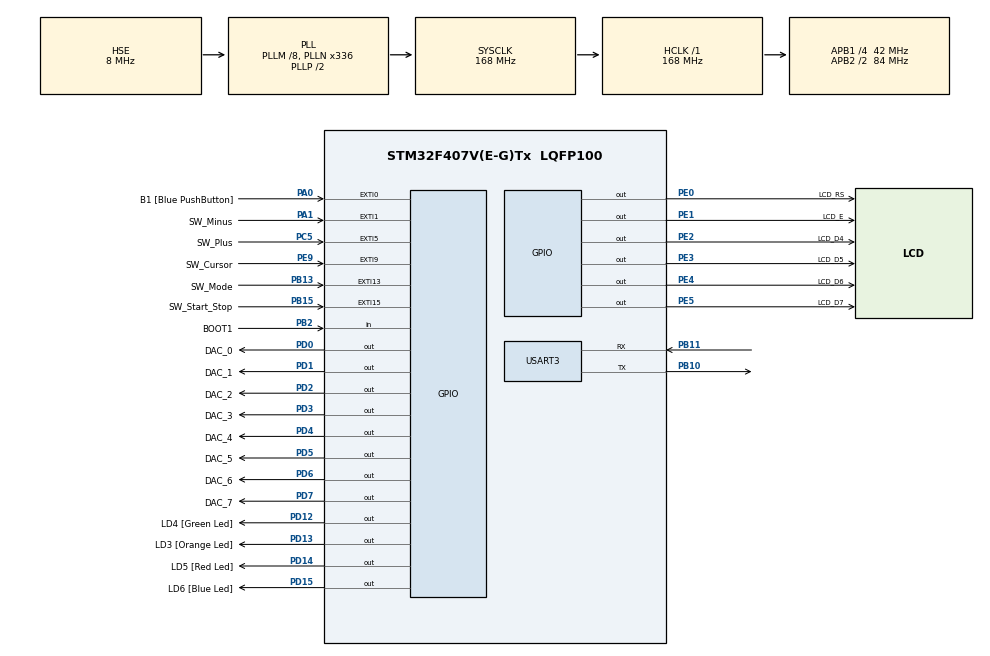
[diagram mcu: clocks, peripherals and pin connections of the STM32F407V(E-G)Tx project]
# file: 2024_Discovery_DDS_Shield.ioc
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Dma.Request0=USART3_RX
Dma.USART3_RX.0.Direction=DMA_PERIPH_TO_MEMORY
Dma.USART3_RX.0.FIFOMode=DMA_FIFOMODE_DISABLE
Dma.USART3_RX.0.Instance=DMA1_Stream1
Dma.USART3_RX.0.MemDataAlignment=DMA_MDATAALIGN_BYTE
Dma.USART3_RX.0.MemInc=DMA_MINC_ENABLE
Dma.USART3_RX.0.Mode=DMA_CIRCULAR
Dma.USART3_RX.0.PeriphDataAlignment=DMA_PDATAALIGN_BYTE
Dma.USART3_RX.0.PeriphInc=DMA_PINC_DISABLE
Dma.USART3_RX.0.Priority=DMA_PRIORITY_LOW
Mcu.Family=STM32F4
Mcu.Name=STM32F407V(E-G)Tx
Mcu.Package=LQFP100
NVIC.DMA1_Stream1_IRQn=true\:0\:0\:false\:false\:true\:false\:true\:true
NVIC.EXTI15_10_IRQn=true\:0\:0\:false\:false\:true\:true\:true\:true
NVIC.EXTI1_IRQn=true\:0\:0\:false\:false\:true\:true\:true\:true
NVIC.EXTI9_5_IRQn=true\:0\:0\:true\:false\:true\:true\:true\:true
NVIC.PriorityGroup=NVIC_PRIORITYGROUP_0
NVIC.TIM7_IRQn=true\:0\:0\:true\:false\:true\:true\:true\:true
PA0-WKUP.GPIO_Label=B1 [Blue PushButton]
PA0-WKUP.GPIO_ModeDefaultEXTI=GPIO_MODE_EVT_RISING
PA0-WKUP.GPIO_PuPd=GPIO_NOPULL
PA0-WKUP.Signal=GPXTI0
PA1.GPIO_Label=SW_Minus
PA1.GPIO_ModeDefaultEXTI=GPIO_MODE_IT_FALLING
PA1.GPIO_PuPd=GPIO_PULLUP
PA1.Signal=GPXTI1
PA13.GPIO_Label=SWDIO
PA13.Mode=Serial_Wire
PA13.Signal=SYS_JTMS-SWDIO
PA14.GPIO_Label=SWCLK
PA14.Mode=Serial_Wire
PA14.Signal=SYS_JTCK-SWCLK
PB10.Mode=Asynchronous
PB10.Signal=USART3_TX
PB11.Mode=Asynchronous
PB11.Signal=USART3_RX
PB13.GPIO_Label=SW_Mode
PB13.GPIO_ModeDefaultEXTI=GPIO_MODE_IT_FALLING
PB13.GPIO_PuPd=GPIO_PULLUP
PB13.Signal=GPXTI13
PB15.GPIO_Label=SW_Start_Stop
PB15.GPIO_ModeDefaultEXTI=GPIO_MODE_IT_FALLING
PB15.GPIO_PuPd=GPIO_PULLUP
PB15.Signal=GPXTI15
PB2.GPIO_Label=BOOT1
PB2.GPIO_Mode=GPIO_MODE_INPUT
PB2.GPIO_PuPd=GPIO_NOPULL
PB2.Signal=GPIO_Input
PB3.GPIO_Label=SWO
PB3.Signal=SYS_JTDO-SWO
PC14-OSC32_IN.GPIO_Label=PC14-OSC32_IN
PC14-OSC32_IN.Mode=LSE-External-Oscillator
PC14-OSC32_IN.Signal=RCC_OSC32_IN
PC15-OSC32_OUT.GPIO_Label=PC15-OSC32_OUT
PC15-OSC32_OUT.Mode=LSE-External-Oscillator
PC15-OSC32_OUT.Signal=RCC_OSC32_OUT
PC5.GPIO_Label=SW_Plus
PC5.GPIO_ModeDefaultEXTI=GPIO_MODE_IT_FALLING
PC5.GPIO_PuPd=GPIO_PULLUP
PC5.Signal=GPXTI5
PD0.GPIO_Label=DAC_0
PD0.Signal=GPIO_Output
PD1.GPIO_Label=DAC_1
PD1.Signal=GPIO_Output
PD12.GPIO_Label=LD4 [Green Led]
PD12.GPIO_PuPd=GPIO_NOPULL
PD12.GPIO_Speed=GPIO_SPEED_FREQ_LOW
PD12.Signal=GPIO_Output
PD13.GPIO_Label=LD3 [Orange Led]
PD13.GPIO_PuPd=GPIO_NOPULL
PD13.GPIO_Speed=GPIO_SPEED_FREQ_LOW
PD13.Signal=GPIO_Output
PD14.GPIO_Label=LD5 [Red Led]
PD14.GPIO_PuPd=GPIO_NOPULL
PD14.GPIO_Speed=GPIO_SPEED_FREQ_LOW
PD14.Signal=GPIO_Output
PD15.GPIO_Label=LD6 [Blue Led]
PD15.GPIO_PuPd=GPIO_NOPULL
PD15.GPIO_Speed=GPIO_SPEED_FREQ_LOW
PD15.Signal=GPIO_Output
PD2.GPIO_Label=DAC_2
PD2.Signal=GPIO_Output
PD3.GPIO_Label=DAC_3
PD3.Signal=GPIO_Output
PD4.GPIO_Label=DAC_4
PD4.Signal=GPIO_Output
PD5.GPIO_Label=DAC_5
PD5.Signal=GPIO_Output
PD6.GPIO_Label=DAC_6
PD6.Signal=GPIO_Output
PD7.GPIO_Label=DAC_7
PD7.Signal=GPIO_Output
PE0.GPIO_Label=LCD_RS
PE0.Signal=GPIO_Output
PE1.GPIO_Label=LCD_E
PE1.Signal=GPIO_Output
PE2.GPIO_Label=LCD_D4
PE2.Signal=GPIO_Output
PE3.GPIO_Label=LCD_D5
PE3.Signal=GPIO_Output
PE4.GPIO_Label=LCD_D6
PE4.Signal=GPIO_Output
PE5.GPIO_Label=LCD_D7
PE5.Signal=GPIO_Output
PE9.GPIO_Label=SW_Cursor
PE9.GPIO_ModeDefaultEXTI=GPIO_MODE_IT_FALLING
PE9.GPIO_PuPd=GPIO_PULLUP
PE9.Signal=GPXTI9
PH0-OSC_IN.GPIO_Label=PH0-OSC_IN
PH0-OSC_IN.Mode=HSE-External-Oscillator
PH0-OSC_IN.Signal=RCC_OSC_IN
PH1-OSC_OUT.GPIO_Label=PH1-OSC_OUT
PH1-OSC_OUT.Mode=HSE-External-Oscillator
PH1-OSC_OUT.Signal=RCC_OSC_OUT
ProjectManager.HeapSize=0x200
ProjectManager.StackSize=0x400
ProjectManager.TargetToolchain=STM32CubeIDE
RCC.48MHZClocksFreq_Value=48000000
RCC.AHBFreq_Value=168000000
RCC.APB1CLKDivider=RCC_HCLK_DIV4
RCC.APB1Freq_Value=42000000
RCC.APB1TimFreq_Value=84000000
RCC.APB2CLKDivider=RCC_HCLK_DIV2
RCC.APB2Freq_Value=84000000
RCC.APB2TimFreq_Value=168000000
RCC.CortexFreq_Value=168000000
RCC.HCLKFreq_Value=168000000
RCC.HSE_VALUE=8000000
RCC.HSI_VALUE=16000000
RCC.PLLM=8
RCC.PLLN=336
RCC.PLLQ=7
RCC.PLLSourceVirtual=RCC_PLLSOURCE_HSE
RCC.SYSCLKFreq_VALUE=168000000
RCC.SYSCLKSource=RCC_SYSCLKSOURCE_PLLCLK
RCC.VCOOutputFreq_Value=336000000
TIM7.Period=2 - 1
TIM7.Prescaler=42 - 1
TIM7.TIM_MasterOutputTrigger=TIM_TRGO_UPDATE
USART3.VirtualMode=VM_ASYNC
VP_TIM7_VS_ClockSourceINT.Mode=Enable_Timer
board=STM32F407G-DISC1

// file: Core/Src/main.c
/* USER CODE BEGIN Header */
/**
  ******************************************************************************
  * @file           : main.c
  * @brief          : Main program body
  ******************************************************************************
  * @attention
  *
  * Copyright (c) 2024 STMicroelectronics.
  * All rights reserved.
  *
  * This software is licensed under terms that can be found in the LICENSE file
  * in the root directory of this software component.
  * If no LICENSE file comes with this software, it is provided AS-IS.
  *
  ******************************************************************************
  */
/* USER CODE END Header */
#include "main.h"

/* USER CODE BEGIN Includes */

#include <math.h>
#include <stdlib.h>  // for atoi
#include "myFunctions.h"

#include "stdio.h"
#include "string.h"  // for strstr

#include "lcd16x2.h"

/* USER CODE END Includes */

/* USER CODE BEGIN PM */

// DDS MACROS
#define SAMPLING_FREQ 			1000000
#define DDS_FREQ				42400 // Default: 20kHz
#define MAX_SAMPLES 			256

// UART MACROS
#define UART_MSG_BUFFER_SIZE 	50
#define AUX_MSG_BUFFER 			50

#define CMD_DDS_ON				"DDS:ON"
#define CMD_DDS_OFF				"DDS:OFF"
#define CMD_MODE_SINE			"MODE:SINE"
#define CMD_MODE_COSINE			"MODE:COSINE"
#define CMD_MODE_SQUARE			"MODE:SQUARE"
#define CMD_MODE_TRIANGLE		"MODE:TRIANGLE"
#define CMD_MODE_SAWTOOTH		"MODE:SAWTOOTH"
#define CMD_MODE_SAWTOOTH_REV	"MODE:SAWTOOTH_REV"
#define CMD_FREQ				"FREQ:"

// WAVEFORM MACROS
#define N_WAVEFORMS 			6

// DeBounce MACROS
#define BUTTON_DEBOUNCE_TIME 	300 //ms

/* USER CODE END PM */

TIM_HandleTypeDef htim7;

UART_HandleTypeDef huart3;
DMA_HandleTypeDef hdma_usart3_rx;

/* USER CODE BEGIN PV */

// DDS Variables
volatile uint32_t gDDS_Freq = 2000; // 1kHz
uint16_t gSample;
uint16_t gCounter;
uint32_t gPhaseAccumulator = 0;
uint32_t gTuningWord = (pow(2, 32) * DDS_FREQ) / SAMPLING_FREQ;

// Waveform Variables
typedef enum
{
	DDS_Sine_Wave = 0,
	DDS_Cosine_Wave,
	DDS_Triangle_Wave,
	DDS_Sawtooth_Wave,
	DDS_Sawtooth_Rev_Wave,
	DDS_Square_Wave,
}WaveformType_e;

volatile WaveformType_e gWaveformType = DDS_Sine_Wave;

// UART Variables
uint8_t gTXData[UART_MSG_BUFFER_SIZE];
uint8_t gRXData[UART_MSG_BUFFER_SIZE];

char gAUX_msgBuffer[AUX_MSG_BUFFER];
uint8_t gAUX_Counter = 0;

//UART state machine
typedef enum
{
	SM_START = 0,
	SM_APP,
}Uart_StateMachine;

Uart_StateMachine myUART_State = SM_START;

// State Machine Variables
typedef enum
{
	SM_Idle = 0,
	SM_Mode,
	SM_Start_Stop,
	SM_Cursor,
	SM_Plus,
	SM_Minus,
}StateMachine_e;

volatile StateMachine_e gSM = SM_Idle;

volatile uint8_t gStart_Stop = 0;
uint8_t gCursor = 0;

uint32_t gPreviousMillis = 0;
uint32_t gCurrentMillis = 0;

/* USER CODE END PV */

void SystemClock_Config(void);
static void MX_GPIO_Init(void);
static void MX_DMA_Init(void);
static void MX_TIM7_Init(void);
static void MX_USART3_UART_Init(void);

/* USER CODE BEGIN 0 */

void my_printf(char *msg);

void ApplicationCallback(char *cmd);

/* USER CODE END 0 */

int main(void)
{

  /* MCU Configuration--------------------------------------------------------*/

  /* Reset of all peripherals, Initializes the Flash interface and the Systick. */
  HAL_Init();

  /* Configure the system clock */
  SystemClock_Config();

  /* Initialize all configured peripherals */
  MX_GPIO_Init();
  MX_DMA_Init();
  MX_TIM7_Init();
  MX_USART3_UART_Init();
  /* USER CODE BEGIN 2 */

  // LCD
  // **********************
  // Initialize LCD pins
  lcd16x2_init_4bits(GPIOE, LCD_RS_Pin, LCD_E_Pin,
  		  	  	  	 GPIOE, LCD_D4_Pin, LCD_D5_Pin, LCD_D6_Pin, LCD_D7_Pin );

  // Welcome LCD Screen
  lcd16x2_printf("DDS Generator");
  // Turn Off Cursor
  lcd16x2_cursorShow(false);

  // **********************

  // UART
  // **********************
  // Welcome UART
  my_printf("DDS Generator\r\n");

  // Start UART -> DMA and receive one character at the time
  HAL_UART_Receive_DMA(&huart3, (uint8_t *)gRXData, 1);

  // **********************

  //HAL_Delay(500);  // Wait 0.5 second

  // DAC and DDS
  // **********************
  // Set default DDS Tuning Word Frequency - 1kHz
  gTuningWord = (pow(2, 32) * gDDS_Freq) / SAMPLING_FREQ;

  // Start Timer 7 that interacts with External DAC
  // This is now done by using Start Stop button
  //HAL_TIM_Base_Start_IT(&htim7);

  // **********************

  /* USER CODE END 2 */

  /* Infinite loop */
  /* USER CODE BEGIN WHILE */
  while (1)
  {

	  switch(gSM)
	  {
	  case SM_Idle:
		  break;

	  case SM_Mode:

		  lcd16x2_clear();
		  lcd16x2_1stLine();

		  switch(gWaveformType)
		  {
		  case DDS_Sine_Wave:
			  // Update LCD
			  lcd16x2_printf("Mode: Sine");
			  // Update UART
			  my_printf("Mode: Sine\r\n");
			  break;

		  case DDS_Cosine_Wave:
			  // Update LCD
			  lcd16x2_printf("Mode: Cosine");
			  // Update UART
			  my_printf("Mode: Cosine\r\n");
			  break;

		  case DDS_Sawtooth_Wave:
			  // Update LCD
			  lcd16x2_printf("Mode: Sawtooth");
			  // Update UART
			  my_printf("Mode: Sawtooth\r\n");
			  break;

		  case DDS_Sawtooth_Rev_Wave:
			  // Update LCD
			  lcd16x2_printf("Mode: Sawtooth");
			  lcd16x2_2ndLine();
			  lcd16x2_printf("      Reverse");
			  // Update UART
			  my_printf("Mode: Sawtooth Reverse\r\n");
			  break;

		  case DDS_Square_Wave:
			  // Update LCD
			  lcd16x2_printf("Mode: Square");
			  // Update UART
			  my_printf("Mode: Square\r\n");
			  break;

		  case DDS_Triangle_Wave:
			  // Update LCD
			  lcd16x2_printf("Mode: Triangle");
			  // Update UART
			  my_printf("Mode: Triangle\r\n");
			  break;
		  }

		  // Update State Machine
		  gSM = SM_Idle;
		  break;

	  case SM_Cursor:
		  gCursor = !gCursor;

		  if(gCursor == 1)
			  lcd16x2_cursorShow(true);
		  else
			  lcd16x2_cursorShow(false);

		  // Update State Machine
		  gSM = SM_Idle;
		  break;

	  case SM_Start_Stop:

		  lcd16x2_clear();
		  lcd16x2_1stLine();

		  if(gStart_Stop == 1)
		  {
			  // Update LCD
			  lcd16x2_printf("DDS Running...");
			  // Update UART
			  my_printf("DDS Running...\r\n");

			  // Start DAC Timer
			  HAL_TIM_Base_Start_IT(&htim7);
		  }
		  else
		  {
			  // Update LCD
			  lcd16x2_printf("DDS Stopped.");
			  // Update UART
			  my_printf("DDS Stopped.\r\n");
		  }

		  // Update State Machine
		  gSM = SM_Idle;
		  break;

	  case SM_Plus:
		  // Increment Frequency
		  gDDS_Freq++;

		  // Update DDS Tuning Word Frequency
		  gTuningWord = (pow(2, 32) * gDDS_Freq) / SAMPLING_FREQ;

		  // Update LCD
		  lcd16x2_clear();
		  lcd16x2_1stLine();
		  lcd16x2_printf("Frequency:");

		  lcd16x2_2ndLine();
		  lcd16x2_printf("%d", gDDS_Freq);

		  // Update State Machine
		  gSM = SM_Idle;
		  break;

	  case SM_Minus:
		  // Decrement Frequency
		  gDDS_Freq--;

		  // Update DDS Tuning Word Frequency
		  gTuningWord = (pow(2, 32) * gDDS_Freq) / SAMPLING_FREQ;

		  // Update LCD
		  lcd16x2_clear();
		  lcd16x2_1stLine();
		  lcd16x2_printf("Frequency:");

		  lcd16x2_2ndLine();
		  lcd16x2_printf("%d", gDDS_Freq);

		  // Update State Machine
		  gSM = SM_Idle;
		  break;
	  }

	  // Main Loop timing
	  HAL_Delay(200);

    /* USER CODE END WHILE */

  }
}

void SystemClock_Config(void)
{
  RCC_OscInitTypeDef RCC_OscInitStruct = {0};
  RCC_ClkInitTypeDef RCC_ClkInitStruct = {0};

  /** Configure the main internal regulator output voltage
  */
  __HAL_RCC_PWR_CLK_ENABLE();
  __HAL_PWR_VOLTAGESCALING_CONFIG(PWR_REGULATOR_VOLTAGE_SCALE1);

  /** Initializes the RCC Oscillators according to the specified parameters
  * in the RCC_OscInitTypeDef structure.
  */
  RCC_OscInitStruct.OscillatorType = RCC_OSCILLATORTYPE_HSE;
  RCC_OscInitStruct.HSEState = RCC_HSE_ON;
  RCC_OscInitStruct.PLL.PLLState = RCC_PLL_ON;
  RCC_OscInitStruct.PLL.PLLSource = RCC_PLLSOURCE_HSE;
  RCC_OscInitStruct.PLL.PLLM = 8;
  RCC_OscInitStruct.PLL.PLLN = 336;
  RCC_OscInitStruct.PLL.PLLP = RCC_PLLP_DIV2;
  RCC_OscInitStruct.PLL.PLLQ = 7;
  if (HAL_RCC_OscConfig(&RCC_OscInitStruct) != HAL_OK)
  {
    Error_Handler();
  }

  /** Initializes the CPU, AHB and APB buses clocks
  */
  RCC_ClkInitStruct.ClockType = RCC_CLOCKTYPE_HCLK|RCC_CLOCKTYPE_SYSCLK
                              |RCC_CLOCKTYPE_PCLK1|RCC_CLOCKTYPE_PCLK2;
  RCC_ClkInitStruct.SYSCLKSource = RCC_SYSCLKSOURCE_PLLCLK;
  RCC_ClkInitStruct.AHBCLKDivider = RCC_SYSCLK_DIV1;
  RCC_ClkInitStruct.APB1CLKDivider = RCC_HCLK_DIV4;
  RCC_ClkInitStruct.APB2CLKDivider = RCC_HCLK_DIV2;

  if (HAL_RCC_ClockConfig(&RCC_ClkInitStruct, FLASH_LATENCY_5) != HAL_OK)
  {
    Error_Handler();
  }
}

static void MX_TIM7_Init(void)
{

  TIM_MasterConfigTypeDef sMasterConfig = {0};

  htim7.Instance = TIM7;
  htim7.Init.Prescaler = 42 - 1;
  htim7.Init.CounterMode = TIM_COUNTERMODE_UP;
  htim7.Init.Period = 2 - 1;
  htim7.Init.AutoReloadPreload = TIM_AUTORELOAD_PRELOAD_DISABLE;
  if (HAL_TIM_Base_Init(&htim7) != HAL_OK)
  {
    Error_Handler();
  }
  sMasterConfig.MasterOutputTrigger = TIM_TRGO_UPDATE;
  sMasterConfig.MasterSlaveMode = TIM_MASTERSLAVEMODE_DISABLE;
  if (HAL_TIMEx_MasterConfigSynchronization(&htim7, &sMasterConfig) != HAL_OK)
  {
    Error_Handler();
  }

}

static void MX_USART3_UART_Init(void)
{

  huart3.Instance = USART3;
  huart3.Init.BaudRate = 115200;
  huart3.Init.WordLength = UART_WORDLENGTH_8B;
  huart3.Init.StopBits = UART_STOPBITS_1;
  huart3.Init.Parity = UART_PARITY_NONE;
  huart3.Init.Mode = UART_MODE_TX_RX;
  huart3.Init.HwFlowCtl = UART_HWCONTROL_NONE;
  huart3.Init.OverSampling = UART_OVERSAMPLING_16;
  if (HAL_UART_Init(&huart3) != HAL_OK)
  {
    Error_Handler();
  }

}

static void MX_DMA_Init(void)
{

  /* DMA controller clock enable */
  __HAL_RCC_DMA1_CLK_ENABLE();

  /* DMA interrupt init */
  /* DMA1_Stream1_IRQn interrupt configuration */
  HAL_NVIC_SetPriority(DMA1_Stream1_IRQn, 0, 0);
  HAL_NVIC_EnableIRQ(DMA1_Stream1_IRQn);

}

static void MX_GPIO_Init(void)
{
  GPIO_InitTypeDef GPIO_InitStruct = {0};

  /* GPIO Ports Clock Enable */
  __HAL_RCC_GPIOE_CLK_ENABLE();
  __HAL_RCC_GPIOC_CLK_ENABLE();
  __HAL_RCC_GPIOH_CLK_ENABLE();
  __HAL_RCC_GPIOA_CLK_ENABLE();
  __HAL_RCC_GPIOB_CLK_ENABLE();
  __HAL_RCC_GPIOD_CLK_ENABLE();

  /*Configure GPIO pin Output Level */
  HAL_GPIO_WritePin(GPIOE, LCD_D4_Pin|LCD_D5_Pin|LCD_D6_Pin|LCD_D7_Pin
                          |LCD_RS_Pin|LCD_E_Pin, GPIO_PIN_RESET);

  /*Configure GPIO pin Output Level */
  HAL_GPIO_WritePin(GPIOD, LD4_Pin|LD3_Pin|LD5_Pin|LD6_Pin
                          |DAC_0_Pin|DAC_1_Pin|DAC_2_Pin|DAC_3_Pin
                          |DAC_4_Pin|DAC_5_Pin|DAC_6_Pin|DAC_7_Pin, GPIO_PIN_RESET);

  /*Configure GPIO pins : LCD_D4_Pin LCD_D5_Pin LCD_D6_Pin LCD_D7_Pin
                           LCD_RS_Pin LCD_E_Pin */
  GPIO_InitStruct.Pin = LCD_D4_Pin|LCD_D5_Pin|LCD_D6_Pin|LCD_D7_Pin
                          |LCD_RS_Pin|LCD_E_Pin;
  GPIO_InitStruct.Mode = GPIO_MODE_OUTPUT_PP;
  GPIO_InitStruct.Pull = GPIO_NOPULL;
  GPIO_InitStruct.Speed = GPIO_SPEED_FREQ_LOW;
  HAL_GPIO_Init(GPIOE, &GPIO_InitStruct);

  /*Configure GPIO pin : B1_Pin */
  GPIO_InitStruct.Pin = B1_Pin;
  GPIO_InitStruct.Mode = GPIO_MODE_EVT_RISING;
  GPIO_InitStruct.Pull = GPIO_NOPULL;
  HAL_GPIO_Init(B1_GPIO_Port, &GPIO_InitStruct);

  /*Configure GPIO pin : SW_Minus_Pin */
  GPIO_InitStruct.Pin = SW_Minus_Pin;
  GPIO_InitStruct.Mode = GPIO_MODE_IT_FALLING;
  GPIO_InitStruct.Pull = GPIO_PULLUP;
  HAL_GPIO_Init(SW_Minus_GPIO_Port, &GPIO_InitStruct);

  /*Configure GPIO pin : SW_Plus_Pin */
  GPIO_InitStruct.Pin = SW_Plus_Pin;
  GPIO_InitStruct.Mode = GPIO_MODE_IT_FALLING;
  GPIO_InitStruct.Pull = GPIO_PULLUP;
  HAL_GPIO_Init(SW_Plus_GPIO_Port, &GPIO_InitStruct);

  /*Configure GPIO pin : BOOT1_Pin */
  GPIO_InitStruct.Pin = BOOT1_Pin;
  GPIO_InitStruct.Mode = GPIO_MODE_INPUT;
  GPIO_InitStruct.Pull = GPIO_NOPULL;
  HAL_GPIO_Init(BOOT1_GPIO_Port, &GPIO_InitStruct);

  /*Configure GPIO pin : SW_Cursor_Pin */
  GPIO_InitStruct.Pin = SW_Cursor_Pin;
  GPIO_InitStruct.Mode = GPIO_MODE_IT_FALLING;
  GPIO_InitStruct.Pull = GPIO_PULLUP;
  HAL_GPIO_Init(SW_Cursor_GPIO_Port, &GPIO_InitStruct);

  /*Configure GPIO pins : SW_Mode_Pin SW_Start_Stop_Pin */
  GPIO_InitStruct.Pin = SW_Mode_Pin|SW_Start_Stop_Pin;
  GPIO_InitStruct.Mode = GPIO_MODE_IT_FALLING;
  GPIO_InitStruct.Pull = GPIO_PULLUP;
  HAL_GPIO_Init(GPIOB, &GPIO_InitStruct);

  /*Configure GPIO pins : LD4_Pin LD3_Pin LD5_Pin LD6_Pin
                           DAC_0_Pin DAC_1_Pin DAC_2_Pin DAC_3_Pin
                           DAC_4_Pin DAC_5_Pin DAC_6_Pin DAC_7_Pin */
  GPIO_InitStruct.Pin = LD4_Pin|LD3_Pin|LD5_Pin|LD6_Pin
                          |DAC_0_Pin|DAC_1_Pin|DAC_2_Pin|DAC_3_Pin
                          |DAC_4_Pin|DAC_5_Pin|DAC_6_Pin|DAC_7_Pin;
  GPIO_InitStruct.Mode = GPIO_MODE_OUTPUT_PP;
  GPIO_InitStruct.Pull = GPIO_NOPULL;
  GPIO_InitStruct.Speed = GPIO_SPEED_FREQ_LOW;
  HAL_GPIO_Init(GPIOD, &GPIO_InitStruct);

  /* EXTI interrupt init*/
  HAL_NVIC_SetPriority(EXTI1_IRQn, 0, 0);
  HAL_NVIC_EnableIRQ(EXTI1_IRQn);

  HAL_NVIC_SetPriority(EXTI9_5_IRQn, 0, 0);
  HAL_NVIC_EnableIRQ(EXTI9_5_IRQn);

  HAL_NVIC_SetPriority(EXTI15_10_IRQn, 0, 0);
  HAL_NVIC_EnableIRQ(EXTI15_10_IRQn);

}

/* USER CODE BEGIN 4 */

void my_printf(char *msg)
{
	sprintf((char *)gTXData, msg);
	HAL_UART_Transmit(&huart3, gTXData, strlen(gTXData), HAL_MAX_DELAY);
}

void HAL_TIM_PeriodElapsedCallback(TIM_HandleTypeDef *htim)
{
	if(htim == &htim7)
	{
		// Take the 8 upper bits of the 32 bit phase accumulator as a LUT sample pointer
		gCounter = (gPhaseAccumulator >> 24) % MAX_SAMPLES;

		// Get sample from LUT
		switch(gWaveformType)
		{
		case DDS_Sine_Wave:
			gSample = (uint16_t)(SINE_WAVE[gCounter]);
			break;

		case DDS_Cosine_Wave:
			gSample = (uint16_t)(COSINE_WAVE[gCounter]);
			break;

		case DDS_Sawtooth_Wave:
			gSample = (uint16_t)(SAWTOOTH_WAVE[gCounter]);
			break;

		case DDS_Sawtooth_Rev_Wave:
			gSample = (uint16_t)(SAWTOOTH_REV_WAVE[gCounter]);
			break;

		case DDS_Triangle_Wave:
			gSample = (uint16_t)(TRIANGLE_WAVE[gCounter]);
			break;

		case DDS_Square_Wave:
			gSample = (uint16_t)(SQUARE_WAVE[gCounter]);
			break;
		}

		// Faster alternative - direct register access
		GPIOD->ODR &= 0xFF00;  // set 8 bits to zero
		GPIOD->ODR |= (gSample & 0x00FF);  // set 8 bits to gSample

		// Increment Phase Accumulator/counter
		gPhaseAccumulator += gTuningWord;
	}
}

void HAL_GPIO_EXTI_Callback(uint16_t GPIO_Pin)
{
	/* Prevent unused argument(s) compilation warning */
	UNUSED(GPIO_Pin);

	// Get currentMillis
	gCurrentMillis = HAL_GetTick();

	if(GPIO_Pin == SW_Start_Stop_Pin && (gCurrentMillis - gPreviousMillis > BUTTON_DEBOUNCE_TIME))
	{
		// Update State Machine variable
		gSM = SM_Start_Stop;

		// Update Start Stop global variable
		gStart_Stop = !gStart_Stop;

		if(gStart_Stop == 1)
		{
			// Start DAC Timer
			// This is done in the Main Loop
			//HAL_TIM_Base_Start_IT(&htim7);
			HAL_GPIO_WritePin(GPIOD, GPIO_PIN_15, GPIO_PIN_SET);
		}
		else
		{
			// Stop DAC Timer
			HAL_TIM_Base_Stop_IT(&htim7);
			HAL_GPIO_WritePin(GPIOD, GPIO_PIN_15, GPIO_PIN_RESET);
		}

		// Update previousMillis
		gPreviousMillis = gCurrentMillis;
	}

	if(GPIO_Pin == SW_Mode_Pin && (gCurrentMillis - gPreviousMillis > BUTTON_DEBOUNCE_TIME))
	{
		// Update previousMillis
		gPreviousMillis = gCurrentMillis;

		// Update State Machine variable
		gSM = SM_Mode;

		// Rotate between waveforms
		gWaveformType = (gWaveformType + 1) % N_WAVEFORMS;
	}

	if(GPIO_Pin == SW_Cursor_Pin && (gCurrentMillis - gPreviousMillis > BUTTON_DEBOUNCE_TIME))
	{
		// Update previousMillis
		gPreviousMillis = gCurrentMillis;

		// Update State Machine variable
		gSM = SM_Cursor;
	}

	if(GPIO_Pin == SW_Plus_Pin && (gCurrentMillis - gPreviousMillis > BUTTON_DEBOUNCE_TIME))
	{
		// Update previousMillis
		gPreviousMillis = gCurrentMillis;

		// Update State Machine variable
		gSM = SM_Plus;
	}

	if(GPIO_Pin == SW_Minus_Pin && (gCurrentMillis - gPreviousMillis > BUTTON_DEBOUNCE_TIME))
	{
		// Update previousMillis
		gPreviousMillis = gCurrentMillis;

		// Update State Machine variable
		gSM = SM_Minus;
	}

}

// UART DMA Complete Callback Function
void HAL_UART_RxCpltCallback(UART_HandleTypeDef *huart)
{
	/* Prevent unused argument(s) compilation warning */
	UNUSED(huart);

	// State Machine
	// ****************

	switch(myUART_State)
	{
	case SM_START:

		// Sync character detected
		if(gRXData[0] == '#')
		{
			// Go to next state to receive the remaining commands
			myUART_State = SM_APP;

			// Reset gAUX_Counter
			gAUX_Counter = 0;
		}

		else
		{
			if( (gRXData[0] != '\r') || (gRXData[0] != '\n') )
			{
				my_printf("Invalid command.\r\n");
			}
		}

		// Restart DMA reception
		HAL_UART_Receive_DMA(&huart3, (uint8_t *)gRXData, 1);

		break;

	case SM_APP:

		// Get end char
		if(gRXData[0] == '*')
		{

			// ApplicationCallback
			ApplicationCallback(gAUX_msgBuffer);

			// Go back to sync state
			myUART_State = SM_START;
		}
		else
		{
			// add char to gAUX_msgBuffer
			gAUX_msgBuffer[gAUX_Counter] = gRXData[0];

			// increment counter
			gAUX_Counter++;
		}

		// Restart DMA reception
		HAL_UART_Receive_DMA(&huart3, (uint8_t *)gRXData, 1);

		break;

	default:
		break;
	}

	// ****************
}

void ApplicationCallback(char *cmd)
{
	// DDS Command
	// *****************
	if( strstr(cmd, "DDS") != NULL )
	{
		if( strstr(cmd, CMD_DDS_ON) != NULL )
		{
			// Update State Machine variable
			gSM = SM_Start_Stop;

			// Update Start Stop global variable
			gStart_Stop = 1;

			HAL_GPIO_WritePin(GPIOD, GPIO_PIN_15, GPIO_PIN_SET);

			my_printf("CMD Ok.\r\n");
		}

		if( strstr(cmd, CMD_DDS_OFF) != NULL )
		{
			// Update State Machine variable
			gSM = SM_Start_Stop;

			// Update Start Stop global variable
			gStart_Stop = 0;

			// Stop DAC Timer
			HAL_TIM_Base_Stop_IT(&htim7);
			HAL_GPIO_WritePin(GPIOD, GPIO_PIN_15, GPIO_PIN_RESET);

			my_printf("CMD Ok.\r\n");
		}
	}
	// *****************

	// MODE Command
	// *****************
	if( strstr(cmd, "MODE") != NULL )
	{
		// SINE WAVEFORM
		if( strstr(cmd, CMD_MODE_SINE) != NULL )
		{
			// Update State Machine variable
			gSM = SM_Mode;

			gWaveformType = DDS_Sine_Wave;

			my_printf("CMD Ok.\r\n");
		}

		// COSINE WAVEFORM
		if( strstr(cmd, CMD_MODE_COSINE) != NULL )
		{
			// Update State Machine variable
			gSM = SM_Mode;

			gWaveformType = DDS_Cosine_Wave;

			my_printf("CMD Ok.\r\n");
		}

		// TRIANGLE WAVEFORM
		if( strstr(cmd, CMD_MODE_TRIANGLE) != NULL )
		{
			// Update State Machine variable
			gSM = SM_Mode;

			gWaveformType = DDS_Triangle_Wave;

			my_printf("CMD Ok.\r\n");
		}

		// SQUARE WAVEFORM
		if( strstr(cmd, CMD_MODE_SQUARE) != NULL )
		{
			// Update State Machine variable
			gSM = SM_Mode;

			gWaveformType = DDS_Square_Wave;

			my_printf("CMD Ok.\r\n");
		}

		// SAWTOOTH WAVEFORM
		if( strstr(cmd, CMD_MODE_SAWTOOTH) != NULL )
		{
			// Update State Machine variable
			gSM = SM_Mode;

			gWaveformType = DDS_Sawtooth_Wave;

			my_printf("CMD Ok.\r\n");
		}

		// SAWTOOTH REVERSE WAVEFORM
		if( strstr(cmd, CMD_MODE_SAWTOOTH_REV) != NULL )
		{
			// Update State Machine variable
			gSM = SM_Mode;

			gWaveformType = DDS_Sawtooth_Rev_Wave;

			my_printf("CMD Ok.\r\n");
		}
	}
	// *****************

	// FREQ Command
	// *****************
	if( strstr(cmd, "FREQ") != NULL )
	{
		// Get pointer
		const char* freqPos = strstr(cmd, "FREQ:");
		if(freqPos != NULL)
		{
			// Move the pointer to the position just after "FREQ:"
			freqPos += strlen("FREQ:");
			// Extract the number using atoi
			gDDS_Freq = (uint32_t) atoi(freqPos);

			// Update DDS Tuning Word Frequency
			gTuningWord = (pow(2, 32) * gDDS_Freq) / SAMPLING_FREQ;

			my_printf("CMD Ok.\r\n");
		}
	}
	// *****************

}

/* USER CODE END 4 */

void Error_Handler(void)
{
  __disable_irq();
  while (1)
  {
  }
}
